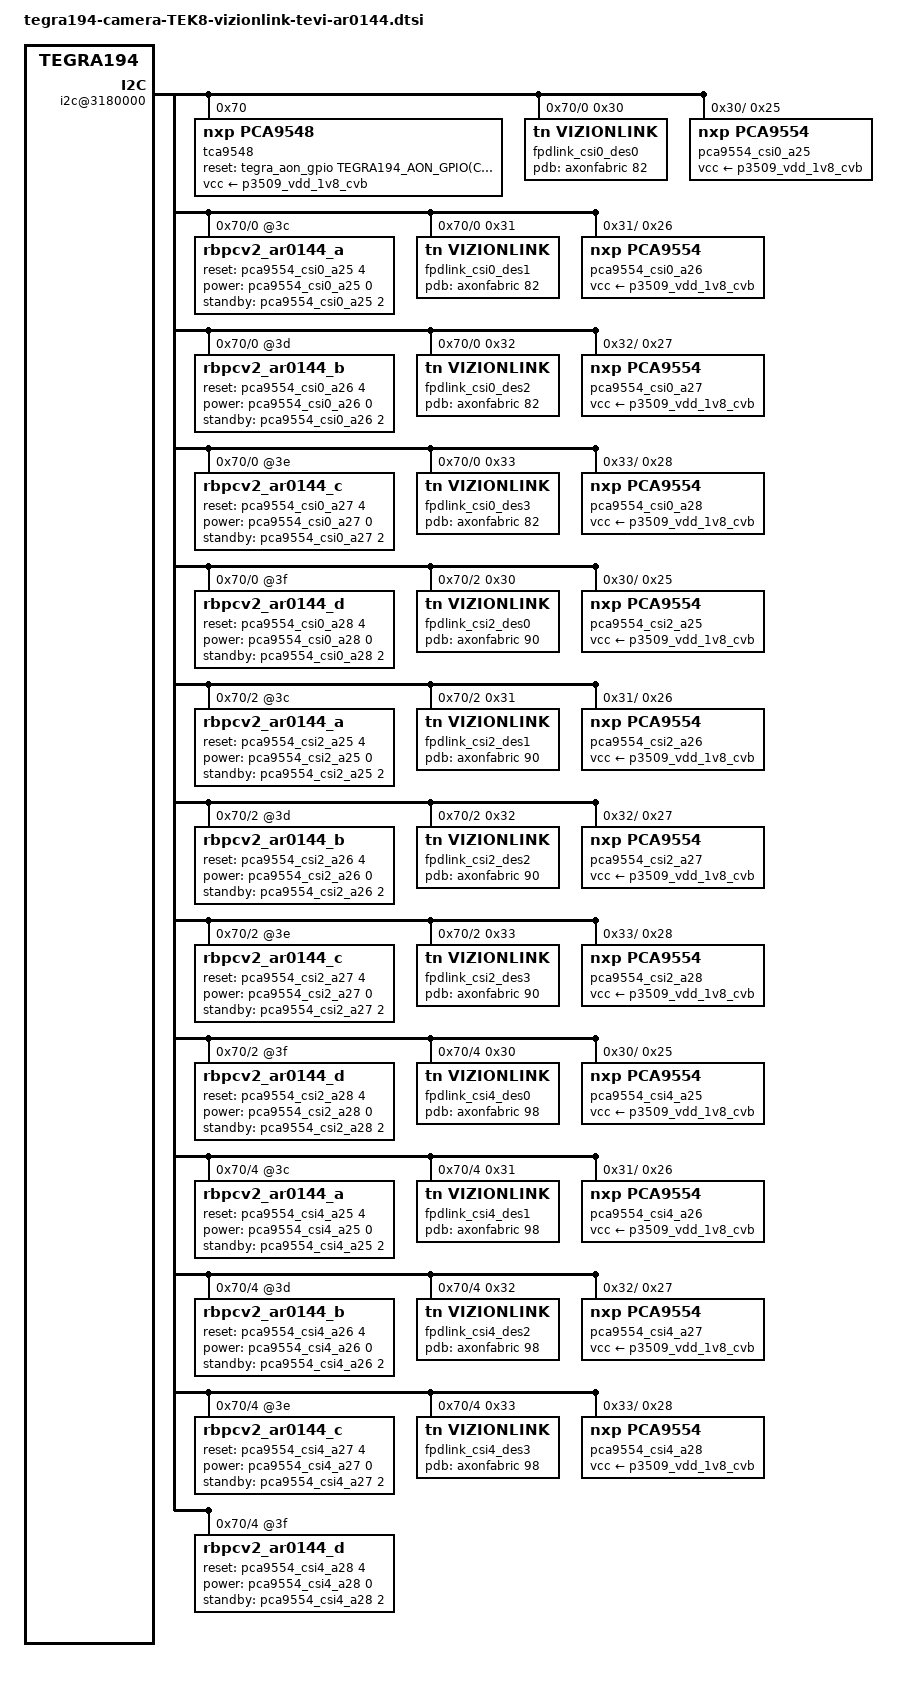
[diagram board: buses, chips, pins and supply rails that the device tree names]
/*
 * Copyright (c) 2021, NVIDIA CORPORATION.  All rights reserved.
 *
 * This program is free software; you can redistribute it and/or modify
 * it under the terms of the GNU General Public License as published by
 * the Free Software Foundation; either version 2 of the License, or
 * (at your option) any later version.
 *
 * This program is distributed in the hope that it will be useful, but WITHOUT
 * ANY WARRANTY; without even the implied warranty of MERCHANTABILITY or
 * FITNESS FOR A PARTICULAR PURPOSE.  See the GNU General Public License for
 * more details.
 *
 * You should have received a copy of the GNU General Public License
 * along with this program.  If not, see <http://www.gnu.org/licenses/>.
 */

/* If your VIZIONLINK didn't plug all(12) camera.
 * Please markdown the nmissing cameras and modified VIZIONLINK_CAMERA_NUM.
 */
#define VIZIONLINK_CSI0_CAMERA0
#define VIZIONLINK_CSI0_CAMERA1
#define VIZIONLINK_CSI0_CAMERA2
#define VIZIONLINK_CSI0_CAMERA3

#define VIZIONLINK_CSI2_CAMERA0
#define VIZIONLINK_CSI2_CAMERA1
#define VIZIONLINK_CSI2_CAMERA2
#define VIZIONLINK_CSI2_CAMERA3

#define VIZIONLINK_CSI4_CAMERA0
#define VIZIONLINK_CSI4_CAMERA1
#define VIZIONLINK_CSI4_CAMERA2
#define VIZIONLINK_CSI4_CAMERA3

#define VIZIONLINK_CAMERA_NUM 12

#include "tegra194-camera-tevi-ar0144.dtsi"

//CSI0_RST  -> SOC_GPIO04 (CAM0_PWDN pin on EVK)
//CSI0_PWDN -> GPIO11
#define CAM0_RST	TEGRA194_MAIN_GPIO(P, 4)
#define CAM0_PWDN	TEGRA194_MAIN_GPIO(Q, 6)
//#define CAM0_PWDN	TEGRA194_MAIN_GPIO(P, 4)
//#define CAM1_PWDN	TEGRA194_MAIN_GPIO(P, 5)
//#define CAM_I2C_MUX 	TEGRA194_AON_GPIO(CC, 3)
//#define CAM0_RST	TEGRA194_MAIN_GPIO(P, 0)
#define CAM1_RST	TEGRA194_MAIN_GPIO(P, 1)

//#define CAM0_PWDN	TEGRA194_MAIN_GPIO(P, 4)
#define CAM1_PWDN	TEGRA194_MAIN_GPIO(P, 5)
#define CAMERA_I2C_MUX_BUS(x) (0x1E + x)

/ {
	i2c@3180000 { /* cam_i2c */
		// clock-frequency = <400000>;
		tca9548@70 {
			compatible = "nxp,pca9548";
			reg = <0x70>;
			#address-cells = <1>;
			#size-cells = <0>;
			reset-gpios = <&tegra_aon_gpio TEGRA194_AON_GPIO(CC, 3) GPIO_ACTIVE_LOW>;
			skip_mux_detect = "yes";
			vcc-supply = <&p3509_vdd_1v8_cvb>;
			vcc_lp = "vcc";
			force_bus_start = <CAMERA_I2C_MUX_BUS(0)>;

			i2c@0 {
				reg = <0>;
				i2c-mux,deselect-on-exit;
				#address-cells = <1>;
				#size-cells = <0>;
				// tevi_ar0144_otp_csi0: tevi_ar0144_otp@54 {
				// 	compatible = "at24,24c1024";
				// 	pagesize = <32>;
				// 	reg = <0x54>;
				// };

#ifdef VIZIONLINK_CSI0_CAMERA0
				fpdlink_csi0_des0: vizionlink@30 {
					compatible = "tn,vizionlink";
					reg = <0x30>;
					phy-reg = <0x30>;
					port = <0>;
					pdb-gpios = <&axonfabric 82 GPIO_ACTIVE_HIGH>;
					ser_alias_id = <0x40>;

					//i2c addr alias map "gpio extender, eeprom addr1, eeprom addr2, sensor"
					i2c_addr_alias_map_local = <0x25 0x54 0x55 0x3c>;
					i2c_addr_alias_map_remote = <0x25 0x54 0x55 0x3d>;

					//deserializer output csi lanes 1~4. default 4
					des_csi_lanes = <2>;

					//1: Enable 0: Disable continuous clock. default 0
					des_csi_continuous_clock = <0>;

					//serializer input csi lanes 1~4. default 4
					ser_csi_lanes = <2>;

					//1: Enable 0: Disable continuous clock. default 0
					ser_csi_continuous_clock = <0>;

					status = "okay";

					i2c_dev_list {
						#address-cells = <1>;
						#size-cells = <0>;

						pca9554_csi0_a25: pca9554@25 {
							compatible = "nxp,pca9554";
							reg = <0x25>;
							gpio-controller;
							#gpio-cells = <2>;
							vcc-supply = <&p3509_vdd_1v8_cvb>;
							vcc_lp = "vcc";
							status = "okay";
						};
					};
				};
				rbpcv2_ar0144_a@3c {
					reset-gpios = <&pca9554_csi0_a25 4 GPIO_ACTIVE_HIGH>;
					power-gpios = <&pca9554_csi0_a25 0 GPIO_ACTIVE_HIGH>;
					standby-gpios = <&pca9554_csi0_a25 2 GPIO_ACTIVE_HIGH>;
					// nvmem = <&tevi_ar0144_otp_csi0>;
					// nvmem-names = "calib-data";

					nvidia,fpdlink-dser-device = <&fpdlink_csi0_des0>;
					vc_port = <0>;
				};
#endif
#ifdef VIZIONLINK_CSI0_CAMERA1
				fpdlink_csi0_des1: vizionlink@31 {
					compatible = "tn,vizionlink";
					reg = <0x31>;
					phy-reg = <0x30>;
					port = <1>;
					pdb-gpios = <&axonfabric 82 GPIO_ACTIVE_HIGH>;
					ser_alias_id = <0x41>;

					//i2c addr alias map "gpio extender, eeprom addr1, eeprom addr2, sensor"
					i2c_addr_alias_map_local = <0x26 0x54 0x55 0x3d>;
					i2c_addr_alias_map_remote = <0x25 0x54 0x55 0x3d>;

					//deserializer output csi lanes 1~4. default 4
					des_csi_lanes = <2>;

					//1: Enable 0: Disable continuous clock. default 0
					des_csi_continuous_clock = <0>;

					//serializer input csi lanes 1~4. default 4
					ser_csi_lanes = <2>;

					//1: Enable 0: Disable continuous clock. default 0
					ser_csi_continuous_clock = <0>;

					status = "okay";

					i2c_dev_list {
						#address-cells = <1>;
						#size-cells = <0>;

						pca9554_csi0_a26: pca9554@26 {
							compatible = "nxp,pca9554";
							reg = <0x26>;
							gpio-controller;
							#gpio-cells = <2>;
							vcc-supply = <&p3509_vdd_1v8_cvb>;
							vcc_lp = "vcc";
							status = "okay";
						};
					};
				};
				rbpcv2_ar0144_b@3d {
					reset-gpios = <&pca9554_csi0_a26 4 GPIO_ACTIVE_HIGH>;
					power-gpios = <&pca9554_csi0_a26 0 GPIO_ACTIVE_HIGH>;
					standby-gpios = <&pca9554_csi0_a26 2 GPIO_ACTIVE_HIGH>;
					// nvmem = <&tevi_ar0144_otp_csi0>;
					// nvmem-names = "calib-data";

					nvidia,fpdlink-dser-device = <&fpdlink_csi0_des1>;
					vc_port = <1>;
				};
#endif
#ifdef VIZIONLINK_CSI0_CAMERA2
				fpdlink_csi0_des2: vizionlink@32 {
					compatible = "tn,vizionlink";
					reg = <0x32>;
					phy-reg = <0x30>;
					port = <2>;
					pdb-gpios = <&axonfabric 82 GPIO_ACTIVE_HIGH>;
					ser_alias_id = <0x42>;

					//i2c addr alias map "gpio extender, eeprom addr1, eeprom addr2, sensor"
					i2c_addr_alias_map_local = <0x27 0x54 0x55 0x3e>;
					i2c_addr_alias_map_remote = <0x25 0x54 0x55 0x3d>;

					//deserializer output csi lanes 1~4. default 4
					des_csi_lanes = <2>;

					//1: Enable 0: Disable continuous clock. default 0
					des_csi_continuous_clock = <0>;

					//serializer input csi lanes 1~4. default 4
					ser_csi_lanes = <2>;

					//1: Enable 0: Disable continuous clock. default 0
					ser_csi_continuous_clock = <0>;

					status = "okay";

					i2c_dev_list {
						#address-cells = <1>;
						#size-cells = <0>;

						pca9554_csi0_a27: pca9554@27 {
							compatible = "nxp,pca9554";
							reg = <0x27>;
							gpio-controller;
							#gpio-cells = <2>;
							vcc-supply = <&p3509_vdd_1v8_cvb>;
							vcc_lp = "vcc";
							status = "okay";
						};
					};
				};
				rbpcv2_ar0144_c@3e {
					reset-gpios = <&pca9554_csi0_a27 4 GPIO_ACTIVE_HIGH>;
					power-gpios = <&pca9554_csi0_a27 0 GPIO_ACTIVE_HIGH>;
					standby-gpios = <&pca9554_csi0_a27 2 GPIO_ACTIVE_HIGH>;
					// nvmem = <&tevi_ar0144_otp_csi0>;
					// nvmem-names = "calib-data";

					nvidia,fpdlink-dser-device = <&fpdlink_csi0_des2>;
					vc_port = <2>;
				};
#endif
#ifdef VIZIONLINK_CSI0_CAMERA3
				fpdlink_csi0_des3: vizionlink@33 {
					compatible = "tn,vizionlink";
					reg = <0x33>;
					phy-reg = <0x30>;
					port = <3>;
					pdb-gpios = <&axonfabric 82 GPIO_ACTIVE_HIGH>;
					ser_alias_id = <0x43>;

					//i2c addr alias map "gpio extender, eeprom addr1, eeprom addr2, sensor"
					i2c_addr_alias_map_local = <0x28 0x54 0x55 0x3f>;
					i2c_addr_alias_map_remote = <0x25 0x54 0x55 0x3d>;

					//deserializer output csi lanes 1~4. default 4
					des_csi_lanes = <2>;

					//1: Enable 0: Disable continuous clock. default 0
					des_csi_continuous_clock = <0>;

					//serializer input csi lanes 1~4. default 4
					ser_csi_lanes = <2>;

					//1: Enable 0: Disable continuous clock. default 0
					ser_csi_continuous_clock = <0>;

					status = "okay";

					i2c_dev_list {
						#address-cells = <1>;
						#size-cells = <0>;

						pca9554_csi0_a28: pca9554@28 {
							compatible = "nxp,pca9554";
							reg = <0x28>;
							gpio-controller;
							#gpio-cells = <2>;
							vcc-supply = <&p3509_vdd_1v8_cvb>;
							vcc_lp = "vcc";
							status = "okay";
						};
					};
				};
				rbpcv2_ar0144_d@3f {
					reset-gpios = <&pca9554_csi0_a28 4 GPIO_ACTIVE_HIGH>;
					power-gpios = <&pca9554_csi0_a28 0 GPIO_ACTIVE_HIGH>;
					standby-gpios = <&pca9554_csi0_a28 2 GPIO_ACTIVE_HIGH>;
					// nvmem = <&tevi_ar0144_otp_csi0>;
					// nvmem-names = "calib-data";

					nvidia,fpdlink-dser-device = <&fpdlink_csi0_des3>;
					vc_port = <3>;
				};
#endif
			};
			i2c@2 {
				reg = <2>;
				i2c-mux,deselect-on-exit;
				#address-cells = <1>;
				#size-cells = <0>;

#ifdef VIZIONLINK_CSI2_CAMERA0
				fpdlink_csi2_des0: vizionlink@30 {
					compatible = "tn,vizionlink";
					reg = <0x30>;
					phy-reg = <0x30>;
					port = <0>;
					pdb-gpios = <&axonfabric 90 GPIO_ACTIVE_HIGH>;
					ser_alias_id = <0x40>;

					//i2c addr alias map "gpio extender, eeprom addr1, eeprom addr2, sensor"
					i2c_addr_alias_map_local = <0x25 0x54 0x55 0x3c>;
					i2c_addr_alias_map_remote = <0x25 0x54 0x55 0x3d>;

					//deserializer output csi lanes 1~4. default 4
					des_csi_lanes = <2>;

					//1: Enable 0: Disable continuous clock. default 0
					des_csi_continuous_clock = <0>;

					//serializer input csi lanes 1~4. default 4
					ser_csi_lanes = <2>;

					//1: Enable 0: Disable continuous clock. default 0
					ser_csi_continuous_clock = <0>;

					status = "okay";

					i2c_dev_list {
						#address-cells = <1>;
						#size-cells = <0>;

						pca9554_csi2_a25: pca9554@25 {
							compatible = "nxp,pca9554";
							reg = <0x25>;
							gpio-controller;
							#gpio-cells = <2>;
							vcc-supply = <&p3509_vdd_1v8_cvb>;
							vcc_lp = "vcc";
							status = "okay";
						};
					};
				};
				rbpcv2_ar0144_a@3c {
					reset-gpios = <&pca9554_csi2_a25 4 GPIO_ACTIVE_HIGH>;
					power-gpios = <&pca9554_csi2_a25 0 GPIO_ACTIVE_HIGH>;
					standby-gpios = <&pca9554_csi2_a25 2 GPIO_ACTIVE_HIGH>;
					// nvmem = <&tevi_ar0144_otp_csi2>;
					// nvmem-names = "calib-data";

					nvidia,fpdlink-dser-device = <&fpdlink_csi2_des0>;
					vc_port = <0>;
				};
#endif
#ifdef VIZIONLINK_CSI2_CAMERA1
				fpdlink_csi2_des1: vizionlink@31 {
					compatible = "tn,vizionlink";
					reg = <0x31>;
					phy-reg = <0x30>;
					port = <1>;
					pdb-gpios = <&axonfabric 90 GPIO_ACTIVE_HIGH>;
					ser_alias_id = <0x41>;

					//i2c addr alias map "gpio extender, eeprom addr1, eeprom addr2, sensor"
					i2c_addr_alias_map_local = <0x26 0x54 0x55 0x3d>;
					i2c_addr_alias_map_remote = <0x25 0x54 0x55 0x3d>;

					//deserializer output csi lanes 1~4. default 4
					des_csi_lanes = <2>;

					//1: Enable 0: Disable continuous clock. default 0
					des_csi_continuous_clock = <0>;

					//serializer input csi lanes 1~4. default 4
					ser_csi_lanes = <2>;

					//1: Enable 0: Disable continuous clock. default 0
					ser_csi_continuous_clock = <0>;

					status = "okay";

					i2c_dev_list {
						#address-cells = <1>;
						#size-cells = <0>;

						pca9554_csi2_a26: pca9554@26 {
							compatible = "nxp,pca9554";
							reg = <0x26>;
							gpio-controller;
							#gpio-cells = <2>;
							vcc-supply = <&p3509_vdd_1v8_cvb>;
							vcc_lp = "vcc";
							status = "okay";
						};
					};
				};
				rbpcv2_ar0144_b@3d {
					reset-gpios = <&pca9554_csi2_a26 4 GPIO_ACTIVE_HIGH>;
					power-gpios = <&pca9554_csi2_a26 0 GPIO_ACTIVE_HIGH>;
					standby-gpios = <&pca9554_csi2_a26 2 GPIO_ACTIVE_HIGH>;
					// nvmem = <&tevi_ar0144_otp_csi2>;
					// nvmem-names = "calib-data";

					nvidia,fpdlink-dser-device = <&fpdlink_csi2_des1>;
					vc_port = <1>;
				};
#endif
#ifdef VIZIONLINK_CSI2_CAMERA2
				fpdlink_csi2_des2: vizionlink@32 {
					compatible = "tn,vizionlink";
					reg = <0x32>;
					phy-reg = <0x30>;
					port = <2>;
					pdb-gpios = <&axonfabric 90 GPIO_ACTIVE_HIGH>;
					ser_alias_id = <0x42>;

					//i2c addr alias map "gpio extender, eeprom addr1, eeprom addr2, sensor"
					i2c_addr_alias_map_local = <0x27 0x54 0x55 0x3e>;
					i2c_addr_alias_map_remote = <0x25 0x54 0x55 0x3d>;

					//deserializer output csi lanes 1~4. default 4
					des_csi_lanes = <2>;

					//1: Enable 0: Disable continuous clock. default 0
					des_csi_continuous_clock = <0>;

					//serializer input csi lanes 1~4. default 4
					ser_csi_lanes = <2>;

					//1: Enable 0: Disable continuous clock. default 0
					ser_csi_continuous_clock = <0>;

					status = "okay";

					i2c_dev_list {
						#address-cells = <1>;
						#size-cells = <0>;

						pca9554_csi2_a27: pca9554@27 {
							compatible = "nxp,pca9554";
							reg = <0x27>;
							gpio-controller;
							#gpio-cells = <2>;
							vcc-supply = <&p3509_vdd_1v8_cvb>;
							vcc_lp = "vcc";
							status = "okay";
						};
					};
				};
				rbpcv2_ar0144_c@3e {
					reset-gpios = <&pca9554_csi2_a27 4 GPIO_ACTIVE_HIGH>;
					power-gpios = <&pca9554_csi2_a27 0 GPIO_ACTIVE_HIGH>;
					standby-gpios = <&pca9554_csi2_a27 2 GPIO_ACTIVE_HIGH>;
					// nvmem = <&tevi_ar0144_otp_csi2>;
					// nvmem-names = "calib-data";

					nvidia,fpdlink-dser-device = <&fpdlink_csi2_des2>;
					vc_port = <2>;
				};
#endif
#ifdef VIZIONLINK_CSI2_CAMERA3
				fpdlink_csi2_des3: vizionlink@33 {
					compatible = "tn,vizionlink";
					reg = <0x33>;
					phy-reg = <0x30>;
					port = <3>;
					pdb-gpios = <&axonfabric 90 GPIO_ACTIVE_HIGH>;
					ser_alias_id = <0x43>;

					//i2c addr alias map "gpio extender, eeprom addr1, eeprom addr2, sensor"
					i2c_addr_alias_map_local = <0x28 0x54 0x55 0x3f>;
					i2c_addr_alias_map_remote = <0x25 0x54 0x55 0x3d>;

					//deserializer output csi lanes 1~4. default 4
					des_csi_lanes = <2>;

					//1: Enable 0: Disable continuous clock. default 0
					des_csi_continuous_clock = <0>;

					//serializer input csi lanes 1~4. default 4
					ser_csi_lanes = <2>;

					//1: Enable 0: Disable continuous clock. default 0
					ser_csi_continuous_clock = <0>;

					status = "okay";

					i2c_dev_list {
						#address-cells = <1>;
						#size-cells = <0>;

						pca9554_csi2_a28: pca9554@28 {
							compatible = "nxp,pca9554";
							reg = <0x28>;
							gpio-controller;
							#gpio-cells = <2>;
							vcc-supply = <&p3509_vdd_1v8_cvb>;
							vcc_lp = "vcc";
							status = "okay";
						};
					};
				};
				rbpcv2_ar0144_d@3f {
					reset-gpios = <&pca9554_csi2_a28 4 GPIO_ACTIVE_HIGH>;
					power-gpios = <&pca9554_csi2_a28 0 GPIO_ACTIVE_HIGH>;
					standby-gpios = <&pca9554_csi2_a28 2 GPIO_ACTIVE_HIGH>;
					// nvmem = <&tevi_ar0144_otp_csi2>;
					// nvmem-names = "calib-data";

					nvidia,fpdlink-dser-device = <&fpdlink_csi2_des3>;
					vc_port = <3>;
				};
#endif
				// tevi_ar0144_otp_csi2: tevi_ar0144_otp@54 {
				// 	compatible = "at24,24c1024";
				// 	pagesize = <32>;
				// 	reg = <0x54>;
				// };
			};
			i2c@4 {
				reg = <4>;
				i2c-mux,deselect-on-exit;
				#address-cells = <1>;
				#size-cells = <0>;

#ifdef VIZIONLINK_CSI4_CAMERA0
				fpdlink_csi4_des0: vizionlink@30 {
					compatible = "tn,vizionlink";
					reg = <0x30>;
					phy-reg = <0x30>;
					port = <0>;
					pdb-gpios = <&axonfabric 98 GPIO_ACTIVE_HIGH>;
					ser_alias_id = <0x40>;

					//i2c addr alias map "gpio extender, eeprom addr1, eeprom addr2, sensor"
					i2c_addr_alias_map_local = <0x25 0x54 0x55 0x3c>;
					i2c_addr_alias_map_remote = <0x25 0x54 0x55 0x3d>;

					//deserializer output csi lanes 1~4. default 4
					des_csi_lanes = <2>;

					//1: Enable 0: Disable continuous clock. default 0
					des_csi_continuous_clock = <0>;

					//serializer input csi lanes 1~4. default 4
					ser_csi_lanes = <2>;

					//1: Enable 0: Disable continuous clock. default 0
					ser_csi_continuous_clock = <0>;

					status = "okay";

					i2c_dev_list {
						#address-cells = <1>;
						#size-cells = <0>;

						pca9554_csi4_a25: pca9554@25 {
							compatible = "nxp,pca9554";
							reg = <0x25>;
							gpio-controller;
							#gpio-cells = <2>;
							vcc-supply = <&p3509_vdd_1v8_cvb>;
							vcc_lp = "vcc";
							status = "okay";
						};
					};
				};
				rbpcv2_ar0144_a@3c {
					reset-gpios = <&pca9554_csi4_a25 4 GPIO_ACTIVE_HIGH>;
					power-gpios = <&pca9554_csi4_a25 0 GPIO_ACTIVE_HIGH>;
					standby-gpios = <&pca9554_csi4_a25 2 GPIO_ACTIVE_HIGH>;
					// nvmem = <&tevi_ar0144_otp_csi4>;
					// nvmem-names = "calib-data";

					nvidia,fpdlink-dser-device = <&fpdlink_csi4_des0>;
					vc_port = <0>;
				};
#endif
#ifdef VIZIONLINK_CSI4_CAMERA1
				fpdlink_csi4_des1: vizionlink@31 {
					compatible = "tn,vizionlink";
					reg = <0x31>;
					phy-reg = <0x30>;
					port = <1>;
					pdb-gpios = <&axonfabric 98 GPIO_ACTIVE_HIGH>;
					ser_alias_id = <0x41>;

					//i2c addr alias map "gpio extender, eeprom addr1, eeprom addr2, sensor"
					i2c_addr_alias_map_local = <0x26 0x54 0x55 0x3d>;
					i2c_addr_alias_map_remote = <0x25 0x54 0x55 0x3d>;

					//deserializer output csi lanes 1~4. default 4
					des_csi_lanes = <2>;

					//1: Enable 0: Disable continuous clock. default 0
					des_csi_continuous_clock = <0>;

					//serializer input csi lanes 1~4. default 4
					ser_csi_lanes = <2>;

					//1: Enable 0: Disable continuous clock. default 0
					ser_csi_continuous_clock = <0>;

					status = "okay";

					i2c_dev_list {
						#address-cells = <1>;
						#size-cells = <0>;

						pca9554_csi4_a26: pca9554@26 {
							compatible = "nxp,pca9554";
							reg = <0x26>;
							gpio-controller;
							#gpio-cells = <2>;
							vcc-supply = <&p3509_vdd_1v8_cvb>;
							vcc_lp = "vcc";
							status = "okay";
						};
					};
				};
				rbpcv2_ar0144_b@3d {
					reset-gpios = <&pca9554_csi4_a26 4 GPIO_ACTIVE_HIGH>;
					power-gpios = <&pca9554_csi4_a26 0 GPIO_ACTIVE_HIGH>;
					standby-gpios = <&pca9554_csi4_a26 2 GPIO_ACTIVE_HIGH>;
					// nvmem = <&tevi_ar0144_otp_csi4>;
					// nvmem-names = "calib-data";

					nvidia,fpdlink-dser-device = <&fpdlink_csi4_des1>;
					vc_port = <1>;
				};
#endif
#ifdef VIZIONLINK_CSI4_CAMERA2
				fpdlink_csi4_des2: vizionlink@32 {
					compatible = "tn,vizionlink";
					reg = <0x32>;
					phy-reg = <0x30>;
					port = <2>;
					pdb-gpios = <&axonfabric 98 GPIO_ACTIVE_HIGH>;
					ser_alias_id = <0x42>;

					//i2c addr alias map "gpio extender, eeprom addr1, eeprom addr2, sensor"
					i2c_addr_alias_map_local = <0x27 0x54 0x55 0x3e>;
					i2c_addr_alias_map_remote = <0x25 0x54 0x55 0x3d>;

					//deserializer output csi lanes 1~4. default 4
					des_csi_lanes = <2>;

					//1: Enable 0: Disable continuous clock. default 0
					des_csi_continuous_clock = <0>;

					//serializer input csi lanes 1~4. default 4
					ser_csi_lanes = <2>;

					//1: Enable 0: Disable continuous clock. default 0
					ser_csi_continuous_clock = <0>;

					status = "okay";

					i2c_dev_list {
						#address-cells = <1>;
						#size-cells = <0>;

						pca9554_csi4_a27: pca9554@27 {
							compatible = "nxp,pca9554";
							reg = <0x27>;
							gpio-controller;
							#gpio-cells = <2>;
							vcc-supply = <&p3509_vdd_1v8_cvb>;
							vcc_lp = "vcc";
							status = "okay";
						};
					};
				};
				rbpcv2_ar0144_c@3e {
					reset-gpios = <&pca9554_csi4_a27 4 GPIO_ACTIVE_HIGH>;
					power-gpios = <&pca9554_csi4_a27 0 GPIO_ACTIVE_HIGH>;
					standby-gpios = <&pca9554_csi4_a27 2 GPIO_ACTIVE_HIGH>;
					// nvmem = <&tevi_ar0144_otp_csi4>;
					// nvmem-names = "calib-data";

					nvidia,fpdlink-dser-device = <&fpdlink_csi4_des2>;
					vc_port = <2>;
				};
#endif
#ifdef VIZIONLINK_CSI4_CAMERA3
				fpdlink_csi4_des3: vizionlink@33 {
					compatible = "tn,vizionlink";
					reg = <0x33>;
					phy-reg = <0x30>;
					port = <3>;
					pdb-gpios = <&axonfabric 98 GPIO_ACTIVE_HIGH>;
					ser_alias_id = <0x43>;

					//i2c addr alias map "gpio extender, eeprom addr1, eeprom addr2, sensor"
					i2c_addr_alias_map_local = <0x28 0x54 0x55 0x3f>;
					i2c_addr_alias_map_remote = <0x25 0x54 0x55 0x3d>;

					//deserializer output csi lanes 1~4. default 4
					des_csi_lanes = <2>;

					//1: Enable 0: Disable continuous clock. default 0
					des_csi_continuous_clock = <0>;

					//serializer input csi lanes 1~4. default 4
					ser_csi_lanes = <2>;

					//1: Enable 0: Disable continuous clock. default 0
					ser_csi_continuous_clock = <0>;

					status = "okay";

					i2c_dev_list {
						#address-cells = <1>;
						#size-cells = <0>;

						pca9554_csi4_a28: pca9554@28 {
							compatible = "nxp,pca9554";
							reg = <0x28>;
							gpio-controller;
							#gpio-cells = <2>;
							vcc-supply = <&p3509_vdd_1v8_cvb>;
							vcc_lp = "vcc";
							status = "okay";
						};
					};
				};
				rbpcv2_ar0144_d@3f {
					reset-gpios = <&pca9554_csi4_a28 4 GPIO_ACTIVE_HIGH>;
					power-gpios = <&pca9554_csi4_a28 0 GPIO_ACTIVE_HIGH>;
					standby-gpios = <&pca9554_csi4_a28 2 GPIO_ACTIVE_HIGH>;
					// nvmem = <&tevi_ar0144_otp_csi4>;
					// nvmem-names = "calib-data";

					nvidia,fpdlink-dser-device = <&fpdlink_csi4_des3>;
					vc_port = <3>;
				};
#endif
				// tevi_ar0144_otp_csi4: tevi_ar0144_otp@54 {
				// 	compatible = "at24,24c1024";
				// 	pagesize = <32>;
				// 	reg = <0x54>;
				// };
			};
		};
	};
/*
	gpio@2200000 {
		camera-control-output-low {
			gpio-hog;
			output-low;
			gpios = <CAM0_PWDN 0 CAM1_PWDN 0>;
			label = "cam0-pwdn","cam1-pwdn";
		};
	};
*/
};
